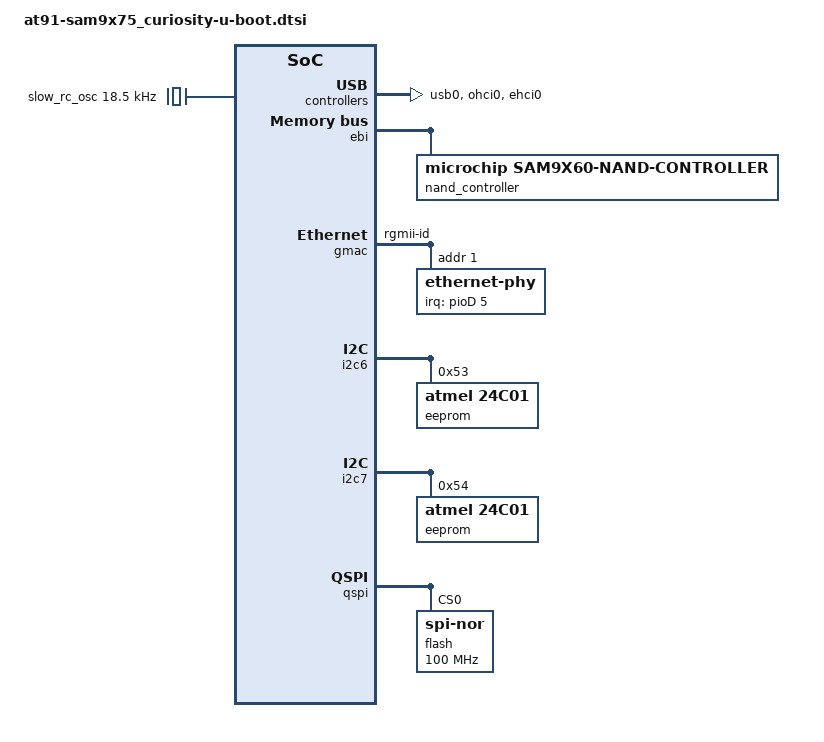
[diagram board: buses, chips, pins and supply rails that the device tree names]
// SPDX-License-Identifier: (GPL-2.0+ OR MIT)
/*
 * at91-sam9x75_curiosity-u-boot.dtsi - Device Tree file for SAM9X75
 * CURIOSITY board.
 *
 * Copyright (C) 2025 Microchip Technology Inc. and its subsidiaries
 *
 * Author: Manikandan Muralidharan <manikandan.m@microchip.com>
 */

/ {
	cpus {
		cpu@0 {
			clocks = <&pmc PMC_TYPE_CORE 25>, <&pmc PMC_TYPE_CORE 17>, <&main_xtal>;
			clock-names = "cpu", "master", "xtal";
		};
	};

	clocks {
		slow_rc_osc: slow_rc_osc {
			compatible = "fixed-clock";
			#clock-cells = <0>;
			clock-frequency = <18500>;
		};
	};

	ahb {
		bootph-all;

		usb0: gadget@500000 {
			compatible = "microchip,sam9x60-udc";
			reg = <0x500000 0x100000>,
			      <0xf803c000 0x400>;
			#address-cells = <1>;
			#size-cells = <0>;
			interrupts = <23 IRQ_TYPE_LEVEL_HIGH 2>;
			clocks = <&pmc PMC_TYPE_PERIPHERAL 23>, <&pmc PMC_TYPE_CORE 8>;
			clock-names = "pclk", "hclk";
			assigned-clocks = <&pmc PMC_TYPE_CORE 8>;
			assigned-clock-rates = <480000000>;
			atmel,vbus-gpio = <&pioC 8 GPIO_ACTIVE_HIGH>;
			pinctrl-names = "default";
			pinctrl-0 = <&pinctrl_usba_vbus>;
		};

		ohci0: usb@600000 {
			compatible = "atmel,at91rm9200-ohci", "usb-ohci";
			reg = <0x600000 0x100000>;
			interrupts = <22 IRQ_TYPE_LEVEL_HIGH 2>;
			clocks = <&pmc PMC_TYPE_PERIPHERAL 22>, <&pmc PMC_TYPE_PERIPHERAL 22>, <&pmc PMC_TYPE_SYSTEM 27>;
			clock-names = "ohci_clk", "hclk", "uhpck";
			num-ports = <3>;
			atmel,vbus-gpio = <0
			&pioC 27 GPIO_ACTIVE_HIGH
			&pioB 18 GPIO_ACTIVE_HIGH>;
			pinctrl-names = "default";
			pinctrl-0 = <&pinctrl_usb_default>;
		};

		ehci0: usb@700000 {
			compatible = "atmel,at91sam9g45-ehci", "usb-ehci";
			reg = <0x700000 0x100000>;
			interrupts = <22 IRQ_TYPE_LEVEL_HIGH 2>;
			clocks = <&pmc PMC_TYPE_CORE 8>, <&pmc PMC_TYPE_PERIPHERAL 22>;
			clock-names = "usb_clk", "ehci_clk";
			assigned-clocks = <&pmc PMC_TYPE_CORE 8>;
			assigned-clock-rates = <480000000>;
		};

		ebi: ebi@10000000 {
			compatible = "microchip,sam9x60-ebi";
			#address-cells = <2>;
			#size-cells = <1>;
			atmel,smc = <&smc>;
			microchip,sfr = <&sfr>;
			reg = <0x10000000 0x60000000>;
			ranges = <0x0 0x0 0x10000000 0x10000000
			0x1 0x0 0x20000000 0x10000000
			0x2 0x0 0x30000000 0x10000000>;
			clocks = <&pmc PMC_TYPE_CORE 17>;
			pinctrl-names = "default";
			pinctrl-0 = <&pinctrl_ebi_addr_nand &pinctrl_ebi_data_0_7>;
			status = "okay";

			nand_controller: nand-controller {
				compatible = "microchip,sam9x60-nand-controller";
				ecc-engine = <&pmecc>;
				#address-cells = <2>;
				#size-cells = <1>;
				ranges;
				pinctrl-names = "default";
				pinctrl-0 = <&pinctrl_nand_oe_we &pinctrl_nand_cs &pinctrl_nand_rb>;
				status = "okay";

				nand@2 {
					reg = <0x2 0x0 0x800000>;
					rb-gpios = <&pioD 14 GPIO_ACTIVE_HIGH>;
					cs-gpios = <&pioD 4 GPIO_ACTIVE_HIGH>;
					nand-bus-width = <8>;
					nand-ecc-mode = "hw";
					nand-ecc-strength = <8>;
					nand-ecc-step-size = <512>;
					nand-on-flash-bbt;
					label = "atmel_nand";
				};
			};
		};
	};

	apb {
		bootph-all;

		pinctrl {
			bootph-all;
		};

		sfr: sfr@f8050000 {
			compatible = "microchip,sam9x60-sfr", "syscon";
			reg = <0xf8050000 0x100>;
		};
	};

	chosen {
		bootph-all;
	};
};

&clk32k {
	bootph-all;
	clocks = <&slow_rc_osc>, <&slow_xtal>;
};

&dbgu {
	bootph-all;
};

&gmac {
	compatible = "microchip,sam9x7-gem", "cdns,sama7g5-gem";
	phy-mode = "rgmii-id";
	#address-cells = <1>;
	#size-cells = <0>;
	pinctrl-names = "default";
	pinctrl-0 = <&pinctrl_gmac_rgmii_default>;
	magic-packet;
	status = "okay";

	ethernet-phy@1 {
		reg = <0x1>;
		interrupt-parent = <&pioD>;
		interrupts = <5 IRQ_TYPE_LEVEL_LOW>;
	};
};

&i2c6 {
	eeprom@53 {
		compatible = "atmel,24c01";
		reg = <0x53>;
		pagesize = <8>;
		status = "okay";
	};
};

&i2c7 {
	eeprom@54 {
		compatible = "atmel,24c01";
		reg = <0x54>;
		pagesize = <8>;
		status = "okay";
	};
};

&main_xtal {
	bootph-all;
};

&pinctrl {
	ebi {
		pinctrl_ebi_data_0_7: ebi-data-lsb-0 {
			atmel,pins =
				<AT91_PIOD 6 AT91_PERIPH_A (AT91_PINCTRL_NONE | AT91_PINCTRL_SLEWRATE_DIS)
				AT91_PIOD 7 AT91_PERIPH_A (AT91_PINCTRL_NONE | AT91_PINCTRL_SLEWRATE_DIS)
				AT91_PIOD 8 AT91_PERIPH_A (AT91_PINCTRL_NONE | AT91_PINCTRL_SLEWRATE_DIS)
				AT91_PIOD 9 AT91_PERIPH_A (AT91_PINCTRL_NONE | AT91_PINCTRL_SLEWRATE_DIS)
				AT91_PIOD 10 AT91_PERIPH_A (AT91_PINCTRL_NONE | AT91_PINCTRL_SLEWRATE_DIS)
				AT91_PIOD 11 AT91_PERIPH_A (AT91_PINCTRL_NONE | AT91_PINCTRL_SLEWRATE_DIS)
				AT91_PIOD 12 AT91_PERIPH_A (AT91_PINCTRL_NONE | AT91_PINCTRL_SLEWRATE_DIS)
				AT91_PIOD 13 AT91_PERIPH_A (AT91_PINCTRL_NONE | AT91_PINCTRL_SLEWRATE_DIS)>;
		};

		pinctrl_ebi_addr_nand: ebi-addr-0 {
			atmel,pins =
				<AT91_PIOD 2 AT91_PERIPH_A (AT91_PINCTRL_NONE | AT91_PINCTRL_SLEWRATE_DIS)
				AT91_PIOD 3 AT91_PERIPH_A (AT91_PINCTRL_NONE | AT91_PINCTRL_SLEWRATE_DIS)>;
		};
	};

	gmac {
		pinctrl_gmac_rgmii_default: gmac-rgmii-default {
			atmel,pins =
				<AT91_PIOB 13 AT91_PERIPH_A  AT91_PINCTRL_SLEWRATE_DIS                          /* ETH_TX0   */
				 AT91_PIOB 14 AT91_PERIPH_A  AT91_PINCTRL_SLEWRATE_DIS                          /* ETH_TX1   */
				 AT91_PIOB 4  AT91_PERIPH_A  AT91_PINCTRL_SLEWRATE_DIS                          /* ETH_TX2   */
				 AT91_PIOB 5  AT91_PERIPH_A  AT91_PINCTRL_SLEWRATE_DIS                          /* ETH_TX3   */
				 AT91_PIOB 7  AT91_PERIPH_A  AT91_PINCTRL_SLEWRATE_DIS                          /* ETH_TXCTL  */
				 AT91_PIOB 6  AT91_PERIPH_A (AT91_PINCTRL_PULL_UP | AT91_PINCTRL_SLEWRATE_DIS)  /* ETH_TXCK  */

				 AT91_PIOB 11 AT91_PERIPH_A  AT91_PINCTRL_SLEWRATE_DIS                          /* ETH_RX0   */
				 AT91_PIOB 12 AT91_PERIPH_A  AT91_PINCTRL_SLEWRATE_DIS                          /* ETH_RX1   */
				 AT91_PIOB 0  AT91_PERIPH_A  AT91_PINCTRL_SLEWRATE_DIS                          /* ETH_RX2   */
				 AT91_PIOB 1  AT91_PERIPH_A  AT91_PINCTRL_SLEWRATE_DIS                          /* ETH_RX3   */
				 AT91_PIOB 8  AT91_PERIPH_A  AT91_PINCTRL_SLEWRATE_DIS                          /* ETH_RXCK   */
				 AT91_PIOB 3  AT91_PERIPH_A  AT91_PINCTRL_SLEWRATE_DIS                          /* ETH_RXCTL */

				 AT91_PIOB 10 AT91_PERIPH_A  AT91_PINCTRL_NONE                                  /* ETH_MDC   */
				 AT91_PIOB 9  AT91_PERIPH_A  AT91_PINCTRL_NONE                                  /* ETH_MDIO  */

				 AT91_PIOB 2  AT91_PERIPH_A  AT91_PINCTRL_SLEWRATE_DIS                          /* ETH_125CK */
				 AT91_PIOD 5  AT91_PERIPH_GPIO  AT91_PINCTRL_NONE>;                             /* ETH_INT   */
		};
	};

	nand {
		pinctrl_nand_oe_we: nand-oe-we-0 {
			atmel,pins =
				<AT91_PIOD 0 AT91_PERIPH_A (AT91_PINCTRL_NONE | AT91_PINCTRL_SLEWRATE_DIS)
				 AT91_PIOD 1 AT91_PERIPH_A (AT91_PINCTRL_NONE | AT91_PINCTRL_SLEWRATE_DIS)>;
		};

		pinctrl_nand_rb: nand-rb-0 {
			atmel,pins =
				<AT91_PIOD 14 AT91_PERIPH_GPIO AT91_PINCTRL_PULL_UP>;
		};

		pinctrl_nand_cs: nand-cs-0 {
			atmel,pins =
				<AT91_PIOD 4 AT91_PERIPH_GPIO AT91_PINCTRL_PULL_UP>;
		};
	};

	ohci0 {
		pinctrl_usb_default: usb-default {
			atmel,pins = <AT91_PIOC 27 AT91_PERIPH_GPIO AT91_PINCTRL_NONE
				      AT91_PIOB 18 AT91_PERIPH_GPIO AT91_PINCTRL_NONE>;
		};
	};

	qspi {
		pinctrl_qspi: pinctrl-qspi {
			atmel,pins =
				<AT91_PIOB 19 AT91_PERIPH_A AT91_PINCTRL_SLEWRATE_DIS
				 AT91_PIOB 20 AT91_PERIPH_A AT91_PINCTRL_SLEWRATE_DIS
				 AT91_PIOB 21 AT91_PERIPH_A (AT91_PINCTRL_PULL_UP | AT91_PINCTRL_SLEWRATE_DIS)
				 AT91_PIOB 22 AT91_PERIPH_A (AT91_PINCTRL_PULL_UP | AT91_PINCTRL_SLEWRATE_DIS)
				 AT91_PIOB 23 AT91_PERIPH_A (AT91_PINCTRL_PULL_UP | AT91_PINCTRL_SLEWRATE_DIS)
				 AT91_PIOB 24 AT91_PERIPH_A (AT91_PINCTRL_PULL_UP | AT91_PINCTRL_SLEWRATE_DIS)>;
		};
	};

	usb0 {
		pinctrl_usba_vbus: usba-vbus {
			atmel,pins = <AT91_PIOC 8 AT91_PERIPH_GPIO AT91_PINCTRL_NONE>;
		};
	};
};

&pinctrl_dbgu_default {
	bootph-all;
};

&pinctrl_sdmmc0_default {
	bootph-all;
};

&pioA {
	bootph-all;
};

&pioB {
	bootph-all;
};

&pit64b0 {
	bootph-all;
};

&pmc {
	bootph-all;
};

&pmecc {
	clocks = <&pmc PMC_TYPE_PERIPHERAL 48>;
};

&qspi {
	pinctrl-names = "default";
	pinctrl-0 = <&pinctrl_qspi>;
	assigned-clock-parents = <&pmc PMC_TYPE_CORE 11>;
	status = "okay";

	flash@0 {
		#address-cells = <1>;
		#size-cells = <1>;
		compatible = "jedec,spi-nor";
		reg = <0>;
		spi-max-frequency = <100000000>;
		spi-tx-bus-width = <4>;
		spi-rx-bus-width = <4>;
		m25p,fast-read;

		at91bootstrap@0 {
			label = "qspi: at91bootstrap";
			reg = <0x0 0x40000>;
		};

		bootloader@40000 {
			label = "qspi: bootloader";
			reg = <0x40000 0xc0000>;
		};

		bootloaderenvred@100000 {
			label = "qspi: bootloader env redundant";
			reg = <0x100000 0x40000>;
		};

		bootloaderenv@140000 {
			label = "qspi: bootloader env";
			reg = <0x140000 0x40000>;
		};

		dtb@180000 {
			label = "qspi: device tree";
			reg = <0x180000 0x80000>;
		};

		kernel@200000 {
			label = "qspi: kernel";
			reg = <0x200000 0x600000>;
		};
	};
};

&sdmmc0 {
	bootph-all;
};

&slow_xtal {
	bootph-all;
};

&slow_rc_osc {
	bootph-all;
};
